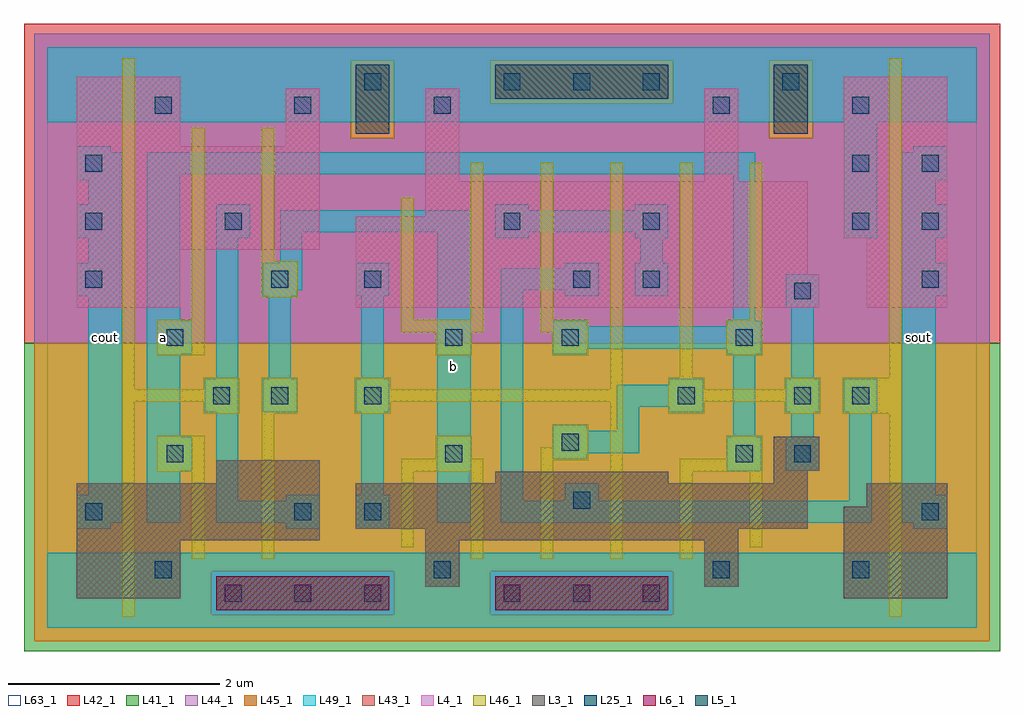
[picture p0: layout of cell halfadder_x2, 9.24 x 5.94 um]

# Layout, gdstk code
import gdstk
lib = gdstk.Library(unit=1e-6, precision=1e-09)
def R(c, l, rs):  # rectangles x0, y0, x1, y1
    for r in rs: c.add(gdstk.rectangle(r[:2], r[2:], *l))
def A(c, l, x, y, w, h, nx, ny, dx, dy):  # array of equal rectangles
    R(c, l, [(x+i*dx, y+j*dy, x+i*dx+w, y+j*dy+h) for i in range(nx) for j in range(ny)])
L3_1 = (3, 1)
L4_1 = (4, 1)
L5_1 = (5, 1)
L6_1 = (6, 1)
L25_1 = (25, 1)
L41_1 = (41, 1)
L42_1 = (42, 1)
L43_1 = (43, 1)
L44_1 = (44, 1)
L45_1 = (45, 1)
L46_1 = (46, 1)
L49_1 = (49, 1)
L63_1 = (63, 1)

halfadder_x2 = lib.new_cell('halfadder_x2')
R(halfadder_x2, L3_1, [(0.28,0.28,1.26,0.83), (7.54,0.28,8.52,1.15), (3.58,0.39,3.9,0.83), (6.22,0.39,6.54,0.83), (0.28,0.83,2.58,1.37), (3.58,0.83,6.54,0.94), (2.92,0.94,7.2,1.37), (7.76,1.15,8.52,1.37), (1.6,1.37,2.58,1.59), (4.24,1.37,5.88,1.48), (6.88,1.37,7.2,1.49), (6.88,1.49,7.31,1.81)])
R(halfadder_x2, L4_1, [(0.28,3.03,1.26,3.58), (2.92,3.03,7.31,3.35), (7.76,3.03,8.52,3.69), (2.92,3.35,7.2,3.9), (0.28,3.58,2.58,4.56), (7.54,3.69,8.52,5.22), (3.58,3.9,7.2,4.23), (3.58,4.23,3.9,5.11), (6.22,4.23,6.54,5.11), (0.28,4.56,1.26,5.22), (2.26,4.56,2.58,5.11)])
R(halfadder_x2, L5_1, [(2.92,4.68,3.24,5.33), (6.88,4.68,7.2,5.33), (4.24,5.01,5.88,5.33)])
R(halfadder_x2, L6_1, [(1.6,0.17,3.24,0.49), (4.24,0.17,5.88,0.49)])
A(halfadder_x2, L25_1, 1.68, 0.25, 0.16, 0.16, 3, 1, 0.66, 0)
A(halfadder_x2, L25_1, 4.32, 0.25, 0.16, 0.16, 3, 2, 0.66, 4.84)
A(halfadder_x2, L25_1, 1.02, 0.47, 0.16, 0.16, 3, 1, 2.64, 0)
A(halfadder_x2, L25_1, 7.62, 0.47, 0.16, 0.16, 1, 3, 0, 1.65)
A(halfadder_x2, L25_1, 3, 1.02, 0.16, 0.16, 1, 3, 0, 1.1)
A(halfadder_x2, L25_1, 0.36, 3.22, 0.16, 0.16, 1, 3, 0, 0.55)
A(halfadder_x2, L25_1, 8.28, 3.22, 0.16, 0.16, 1, 3, 0, 0.55)
A(halfadder_x2, L25_1, 1.02, 4.87, 0.16, 0.16, 3, 1, 1.32, 0)
R(halfadder_x2, L25_1, [(0.36,1.02,0.52,1.18), (2.34,1.02,2.5,1.18), (8.28,1.02,8.44,1.18), (4.98,1.13,5.14,1.29), (1.13,1.57,1.29,1.73), (3.77,1.57,3.93,1.73), (6.52,1.57,6.68,1.73), (7.07,1.57,7.23,1.73), (4.87,1.68,5.03,1.84), (1.57,2.12,1.73,2.28), (2.12,2.12,2.28,2.28), (5.97,2.12,6.13,2.28), (7.07,2.12,7.23,2.28), (1.13,2.67,1.29,2.83), (3.77,2.67,3.93,2.83), (4.87,2.67,5.03,2.83), (6.52,2.67,6.68,2.83), (7.07,3.11,7.23,3.27), (2.12,3.22,2.28,3.38), (4.98,3.22,5.14,3.38), (5.64,3.22,5.8,3.38), (1.68,3.77,1.84,3.93), (4.32,3.77,4.48,3.93), (5.64,3.77,5.8,3.93), (7.62,4.32,7.78,4.48), (6.3,4.87,6.46,5.03), (7.62,4.87,7.78,5.03), (3,5.09,3.16,5.25), (6.96,5.09,7.12,5.25)])
R(halfadder_x2, L41_1, [(-0.22,-0.22,9.02,2.695)])
R(halfadder_x2, L42_1, [(-0.22,2.695,9.02,5.72)])
R(halfadder_x2, L43_1, [(1.6,0.17,3.24,0.49), (4.24,0.17,5.88,0.49), (0.28,0.28,1.26,0.83), (7.54,0.28,8.52,1.15), (3.58,0.39,3.9,0.83), (6.22,0.39,6.54,0.83), (0.28,0.83,2.58,1.37), (3.58,0.83,6.54,0.94), (2.92,0.94,7.2,1.37), (7.76,1.15,8.52,1.37), (1.6,1.37,2.58,1.59), (4.24,1.37,5.88,1.48), (6.88,1.37,7.2,1.49), (6.88,1.49,7.31,1.81), (0.28,3.03,1.26,3.58), (2.92,3.03,7.31,3.35), (7.76,3.03,8.52,3.69), (2.92,3.35,7.2,3.9), (0.28,3.58,2.58,4.56), (7.54,3.69,8.52,5.22), (3.58,3.9,7.2,4.23), (3.58,4.23,3.9,5.11), (6.22,4.23,6.54,5.11), (0.28,4.56,1.26,5.22), (2.26,4.56,2.58,5.11), (2.92,4.68,3.24,5.33), (6.88,4.68,7.2,5.33), (4.24,5.01,5.88,5.33)])
R(halfadder_x2, L44_1, [(1.555,0.125,3.285,0.535), (4.195,0.125,5.925,0.535), (-0.125,2.695,8.925,4.635), (-0.125,4.635,2.875,5.375), (3.285,4.635,6.835,4.965), (7.245,4.635,8.925,5.375), (3.285,4.965,4.195,5.375), (5.925,4.965,6.835,5.375), (-0.125,5.375,8.925,5.625)])
R(halfadder_x2, L45_1, [(-0.125,-0.125,8.925,0.125), (-0.125,0.125,1.555,0.535), (3.285,0.125,4.195,0.535), (5.925,0.125,8.925,0.535), (-0.125,0.535,8.925,2.695), (2.875,4.635,3.285,5.375), (6.835,4.635,7.245,5.375), (4.195,4.965,5.925,5.375)])
R(halfadder_x2, L46_1, [(0.71,0.105,0.83,2.14), (7.97,0.105,8.09,2.03), (1.37,0.655,1.49,1.48), (2.03,0.655,2.15,2.03), (4.01,0.655,4.13,1.48), (4.67,0.655,4.79,1.59), (5.33,0.655,5.45,2.14), (5.99,0.655,6.11,1.48), (3.35,0.765,3.47,1.48), (6.65,0.765,6.77,1.48), (1.04,1.48,1.49,1.82), (3.35,1.48,4.13,1.6), (5.99,1.48,6.77,1.6), (4.67,1.59,5.12,1.71), (3.68,1.6,4.02,1.82), (6.43,1.6,6.77,1.82), (4.78,1.71,5.12,1.93), (1.48,2.03,1.82,2.14), (2.03,2.03,2.37,2.37), (2.91,2.03,3.25,2.14), (5.88,2.03,6.22,2.14), (6.98,2.03,7.32,2.14), (7.53,2.03,8.09,2.37), (0.71,2.14,1.82,2.26), (2.91,2.14,5.45,2.26), (5.88,2.14,7.32,2.26), (0.71,2.26,0.83,5.395), (1.48,2.26,1.82,2.37), (2.91,2.26,3.25,2.37), (5.33,2.26,5.45,4.405), (5.88,2.26,6.22,2.37), (6.98,2.26,7.32,2.37), (5.99,2.37,6.11,4.405), (7.97,2.37,8.09,5.395), (1.04,2.58,1.49,2.92), (3.68,2.58,4.02,2.8), (4.78,2.58,5.12,2.8), (6.43,2.58,6.77,2.92), (3.35,2.8,4.13,2.92), (4.67,2.8,5.12,2.92), (1.37,2.92,1.49,4.735), (3.35,2.92,3.47,4.075), (4.01,2.92,4.13,4.405), (4.67,2.92,4.79,4.405), (6.65,2.92,6.77,4.405), (2.03,3.13,2.37,3.47), (2.03,3.47,2.15,4.735)])
A(halfadder_x2, L49_1, 2.92, 0.94, 0.32, 0.32, 1, 3, 0, 1.1)
R(halfadder_x2, L49_1, [(0,0,8.8,0.71), (0.28,0.94,0.6,0.995), (2.26,0.94,2.58,0.995), (8.2,0.94,8.52,0.995), (0.28,0.995,0.71,1.26), (0.94,0.995,1.26,1.49), (1.6,0.995,2.58,1.205), (3.69,0.995,4.01,3.745), (4.295,0.995,7.805,1.205), (8.09,0.995,8.52,1.26), (1.6,1.205,1.81,2.04), (2.26,1.205,2.58,1.26), (4.295,1.205,4.505,3.195), (4.9,1.205,5.22,1.37), (7.595,1.205,7.805,2.04), (0.39,1.26,0.71,3.14), (2.975,1.26,3.185,2.04), (8.09,1.26,8.41,3.14), (0.94,1.49,1.37,1.81), (6.44,1.49,6.76,1.81), (6.99,1.49,7.31,1.81), (4.79,1.6,5.11,1.655), (4.79,1.655,5.605,1.865), (0.94,1.81,1.26,2.59), (6.495,1.81,6.705,2.59), (7.045,1.81,7.255,2.04), (4.79,1.865,5.11,1.92), (5.395,1.865,5.605,2.095), (1.49,2.04,1.81,2.36), (2.04,2.04,2.36,2.36), (5.89,2.04,6.21,2.095), (6.99,2.04,7.31,2.36), (7.54,2.04,7.86,2.36), (5.395,2.095,6.21,2.305), (5.89,2.305,6.21,2.36), (1.6,2.36,1.81,3.69), (2.095,2.36,2.305,3.14), (2.975,2.36,3.185,3.14), (7.045,2.36,7.255,3.03), (0.94,2.59,1.37,2.91), (4.79,2.59,5.11,2.645), (6.44,2.59,6.76,2.645), (4.79,2.645,6.76,2.855), (4.79,2.855,5.11,2.91), (6.44,2.855,6.76,2.91), (0.94,2.91,1.26,4.295), (6.495,2.91,6.705,4.295), (6.99,3.03,7.31,3.35), (0.28,3.14,0.71,3.46), (2.04,3.14,2.36,3.195), (4.9,3.14,5.22,3.195), (5.56,3.14,5.88,3.46), (8.09,3.14,8.52,3.46), (2.04,3.195,2.415,3.46), (4.295,3.195,5.22,3.405), (4.9,3.405,5.22,3.46), (0.39,3.46,0.71,3.69), (2.205,3.46,2.415,3.745), (5.615,3.46,5.825,3.69), (8.09,3.46,8.41,3.69), (0.28,3.69,0.71,4.01), (1.6,3.69,1.92,4.01), (4.24,3.69,4.56,3.745), (5.56,3.69,5.88,3.745), (7.54,3.69,7.86,4.79), (8.09,3.69,8.52,4.01), (2.205,3.745,4.01,3.955), (4.24,3.745,5.88,3.955), (4.24,3.955,4.56,4.01), (5.56,3.955,5.88,4.01), (0.39,4.01,0.71,4.24), (8.09,4.01,8.41,4.24), (0.28,4.24,0.71,4.505), (8.09,4.24,8.52,4.505), (0.94,4.295,6.705,4.505), (0.28,4.505,0.6,4.56), (8.2,4.505,8.52,4.56), (0,4.79,8.8,5.5)])
R(halfadder_x2, L63_1, [(0,0,8.8,5.5)])
halfadder_x2.add(gdstk.Label('a', (1.1,2.75), layer=49, texttype=1))
halfadder_x2.add(gdstk.Label('cout', (0.55,2.75), layer=49, texttype=1))
halfadder_x2.add(gdstk.Label('a', (1.1,2.75), layer=49, texttype=1))
halfadder_x2.add(gdstk.Label('cout', (0.55,2.75), layer=49, texttype=1))
halfadder_x2.add(gdstk.Label('b', (3.85,2.475), layer=49, texttype=1))
halfadder_x2.add(gdstk.Label('b', (3.85,2.475), layer=49, texttype=1))
halfadder_x2.add(gdstk.Label('sout', (8.25,2.75), layer=49, texttype=1))
halfadder_x2.add(gdstk.Label('sout', (8.25,2.75), layer=49, texttype=1))

lib.write_gds('halfadder_x2.gds')
